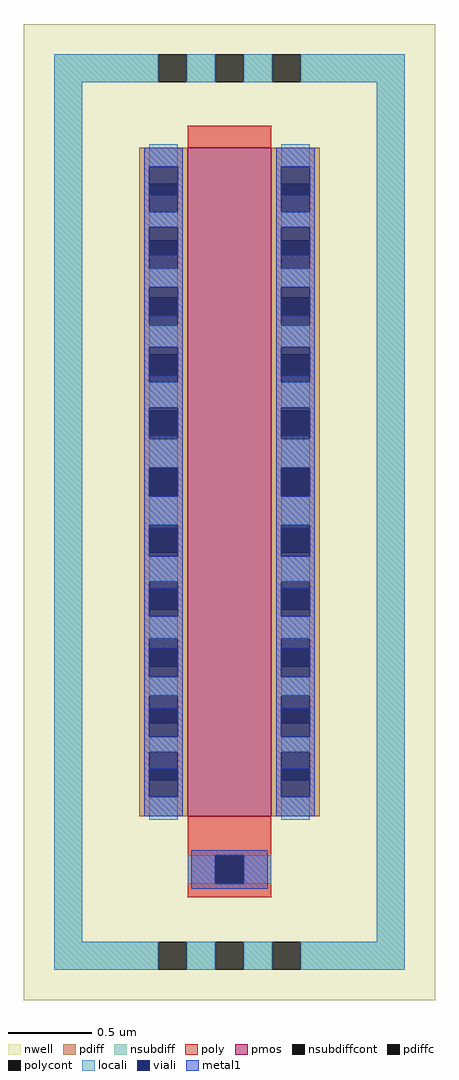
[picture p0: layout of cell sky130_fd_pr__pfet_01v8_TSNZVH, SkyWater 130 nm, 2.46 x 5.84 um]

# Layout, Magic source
magic
tech sky130A
magscale 1 2
<< nwell >>
rect -246 -584 246 584
<< pmos >>
rect -50 -364 50 436
<< pdiff >>
rect -108 393 -50 436
rect -108 359 -96 393
rect -62 359 -50 393
rect -108 325 -50 359
rect -108 291 -96 325
rect -62 291 -50 325
rect -108 257 -50 291
rect -108 223 -96 257
rect -62 223 -50 257
rect -108 189 -50 223
rect -108 155 -96 189
rect -62 155 -50 189
rect -108 121 -50 155
rect -108 87 -96 121
rect -62 87 -50 121
rect -108 53 -50 87
rect -108 19 -96 53
rect -62 19 -50 53
rect -108 -15 -50 19
rect -108 -49 -96 -15
rect -62 -49 -50 -15
rect -108 -83 -50 -49
rect -108 -117 -96 -83
rect -62 -117 -50 -83
rect -108 -151 -50 -117
rect -108 -185 -96 -151
rect -62 -185 -50 -151
rect -108 -219 -50 -185
rect -108 -253 -96 -219
rect -62 -253 -50 -219
rect -108 -287 -50 -253
rect -108 -321 -96 -287
rect -62 -321 -50 -287
rect -108 -364 -50 -321
rect 50 393 108 436
rect 50 359 62 393
rect 96 359 108 393
rect 50 325 108 359
rect 50 291 62 325
rect 96 291 108 325
rect 50 257 108 291
rect 50 223 62 257
rect 96 223 108 257
rect 50 189 108 223
rect 50 155 62 189
rect 96 155 108 189
rect 50 121 108 155
rect 50 87 62 121
rect 96 87 108 121
rect 50 53 108 87
rect 50 19 62 53
rect 96 19 108 53
rect 50 -15 108 19
rect 50 -49 62 -15
rect 96 -49 108 -15
rect 50 -83 108 -49
rect 50 -117 62 -83
rect 96 -117 108 -83
rect 50 -151 108 -117
rect 50 -185 62 -151
rect 96 -185 108 -151
rect 50 -219 108 -185
rect 50 -253 62 -219
rect 96 -253 108 -219
rect 50 -287 108 -253
rect 50 -321 62 -287
rect 96 -321 108 -287
rect 50 -364 108 -321
<< pdiffc >>
rect -96 359 -62 393
rect -96 291 -62 325
rect -96 223 -62 257
rect -96 155 -62 189
rect -96 87 -62 121
rect -96 19 -62 53
rect -96 -49 -62 -15
rect -96 -117 -62 -83
rect -96 -185 -62 -151
rect -96 -253 -62 -219
rect -96 -321 -62 -287
rect 62 359 96 393
rect 62 291 96 325
rect 62 223 96 257
rect 62 155 96 189
rect 62 87 96 121
rect 62 19 96 53
rect 62 -49 96 -15
rect 62 -117 96 -83
rect 62 -185 96 -151
rect 62 -253 96 -219
rect 62 -321 96 -287
<< nsubdiff >>
rect -210 514 -85 548
rect -51 514 -17 548
rect 17 514 51 548
rect 85 514 210 548
rect -210 -514 -176 514
rect 176 -514 210 514
rect -210 -548 -85 -514
rect -51 -548 -17 -514
rect 17 -548 51 -514
rect 85 -548 210 -514
<< nsubdiffcont >>
rect -85 514 -51 548
rect -17 514 17 548
rect 51 514 85 548
rect -85 -548 -51 -514
rect -17 -548 17 -514
rect 51 -548 85 -514
<< poly >>
rect -50 436 50 462
rect -50 -411 50 -364
rect -50 -445 -17 -411
rect 17 -445 50 -411
rect -50 -461 50 -445
<< polycont >>
rect -17 -445 17 -411
<< locali >>
rect -210 514 -85 548
rect -51 514 -17 548
rect 17 514 51 548
rect 85 514 210 548
rect -210 -514 -176 514
rect -96 413 -62 440
rect -96 341 -62 359
rect -96 269 -62 291
rect -96 197 -62 223
rect -96 125 -62 155
rect -96 53 -62 87
rect -96 -15 -62 19
rect -96 -83 -62 -53
rect -96 -151 -62 -125
rect -96 -219 -62 -197
rect -96 -287 -62 -269
rect -96 -368 -62 -341
rect 62 413 96 440
rect 62 341 96 359
rect 62 269 96 291
rect 62 197 96 223
rect 62 125 96 155
rect 62 53 96 87
rect 62 -15 96 19
rect 62 -83 96 -53
rect 62 -151 96 -125
rect 62 -219 96 -197
rect 62 -287 96 -269
rect 62 -368 96 -341
rect -50 -445 -17 -411
rect 17 -445 50 -411
rect 176 -514 210 514
rect -210 -548 -85 -514
rect -51 -548 -17 -514
rect 17 -548 51 -514
rect 85 -548 210 -514
<< viali >>
rect -96 393 -62 413
rect -96 379 -62 393
rect -96 325 -62 341
rect -96 307 -62 325
rect -96 257 -62 269
rect -96 235 -62 257
rect -96 189 -62 197
rect -96 163 -62 189
rect -96 121 -62 125
rect -96 91 -62 121
rect -96 19 -62 53
rect -96 -49 -62 -19
rect -96 -53 -62 -49
rect -96 -117 -62 -91
rect -96 -125 -62 -117
rect -96 -185 -62 -163
rect -96 -197 -62 -185
rect -96 -253 -62 -235
rect -96 -269 -62 -253
rect -96 -321 -62 -307
rect -96 -341 -62 -321
rect 62 393 96 413
rect 62 379 96 393
rect 62 325 96 341
rect 62 307 96 325
rect 62 257 96 269
rect 62 235 96 257
rect 62 189 96 197
rect 62 163 96 189
rect 62 121 96 125
rect 62 91 96 121
rect 62 19 96 53
rect 62 -49 96 -19
rect 62 -53 96 -49
rect 62 -117 96 -91
rect 62 -125 96 -117
rect 62 -185 96 -163
rect 62 -197 96 -185
rect 62 -253 96 -235
rect 62 -269 96 -253
rect 62 -321 96 -307
rect 62 -341 96 -321
rect -17 -445 17 -411
<< metal1 >>
rect -102 413 -56 436
rect -102 379 -96 413
rect -62 379 -56 413
rect -102 341 -56 379
rect -102 307 -96 341
rect -62 307 -56 341
rect -102 269 -56 307
rect -102 235 -96 269
rect -62 235 -56 269
rect -102 197 -56 235
rect -102 163 -96 197
rect -62 163 -56 197
rect -102 125 -56 163
rect -102 91 -96 125
rect -62 91 -56 125
rect -102 53 -56 91
rect -102 19 -96 53
rect -62 19 -56 53
rect -102 -19 -56 19
rect -102 -53 -96 -19
rect -62 -53 -56 -19
rect -102 -91 -56 -53
rect -102 -125 -96 -91
rect -62 -125 -56 -91
rect -102 -163 -56 -125
rect -102 -197 -96 -163
rect -62 -197 -56 -163
rect -102 -235 -56 -197
rect -102 -269 -96 -235
rect -62 -269 -56 -235
rect -102 -307 -56 -269
rect -102 -341 -96 -307
rect -62 -341 -56 -307
rect -102 -364 -56 -341
rect 56 413 102 436
rect 56 379 62 413
rect 96 379 102 413
rect 56 341 102 379
rect 56 307 62 341
rect 96 307 102 341
rect 56 269 102 307
rect 56 235 62 269
rect 96 235 102 269
rect 56 197 102 235
rect 56 163 62 197
rect 96 163 102 197
rect 56 125 102 163
rect 56 91 62 125
rect 96 91 102 125
rect 56 53 102 91
rect 56 19 62 53
rect 96 19 102 53
rect 56 -19 102 19
rect 56 -53 62 -19
rect 96 -53 102 -19
rect 56 -91 102 -53
rect 56 -125 62 -91
rect 96 -125 102 -91
rect 56 -163 102 -125
rect 56 -197 62 -163
rect 96 -197 102 -163
rect 56 -235 102 -197
rect 56 -269 62 -235
rect 96 -269 102 -235
rect 56 -307 102 -269
rect 56 -341 62 -307
rect 96 -341 102 -307
rect 56 -364 102 -341
rect -46 -411 46 -405
rect -46 -445 -17 -411
rect 17 -445 46 -411
rect -46 -451 46 -445
<< properties >>
string FIXED_BBOX -193 -531 193 531
<< end >>
